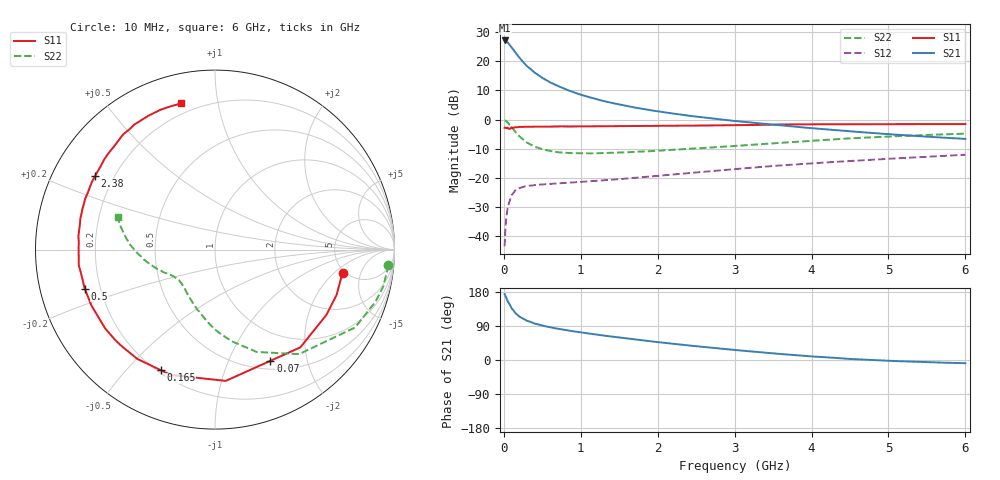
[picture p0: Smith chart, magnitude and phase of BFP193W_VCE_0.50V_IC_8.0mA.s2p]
! Infineon Technologies  Discrete & RF Semiconductors
! BFP193W
! VCE = 0.50V,  IC =  8.0 mA
! Common Emitter S-Parameters:  Jan 2016
# GHz  S  MA  R  50
!  f  S11  S21  S12  S22
! GHz  MAG  ANG  MAG  ANG  MAG  ANG  MAG  ANG
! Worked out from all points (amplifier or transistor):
!   210 points, 10 MHz to 6 GHz, reference 50 ohm
!   highest |S21| = 27.1 dB at 10 MHz (marker M1)
!   |S21| within 3 dB of that: start of sweep to 119.3 MHz
!   unconditionally stable (mu >= 1): 1.237 GHz to end of sweep
!   at 185 MHz: K = 0.20, MSG = 22.7 dB, |S12| = -23.7 dB
!   at 1.52 GHz: K = 1.12, MAG = 10.6 dB, |S12| = -20.4 dB
!   at 6 GHz: K = 1.11, MAG = 0.7 dB, |S12| = -12.1 dB
!   S11 on the Smith chart (normalised r, x): 10 MHz: 4.78, -2.56; 70 MHz: 0.60, -1.44; 165 MHz: 0.21, -0.62; 500 MHz: 0.14, -0.14; 2.38 GHz: 0.13, +0.28; 6 GHz: 0.14, +0.78
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0.01  0.7221 -10.2  22.53 174.1  0.0068 84.6  0.9702 -5.2
0.02  0.7229 -20.4  22.45 169.8  0.0134 80.8  0.9601 -12.3
0.03  0.7196 -30.2  22.12 164.8  0.0196 75.4  0.9403 -18.0
0.05  0.723 -48.9  20.96 155.3  0.0308 67.6  0.8929 -29.1
0.07  0.6924 -63.5  19.28 148.7  0.0382 58.7  0.8204 -37.0
0.1  0.7339 -85.3  17.34 136.7  0.0503 50.6  0.7472 -51.2
0.15  0.7407 -109.5  14 123.6  0.0613 40.4  0.6161 -67.8
0.165  0.7366 -114.3  13.2 121.3  0.0629 38.4  0.5847 -70.9
0.2  0.7471 -125.4  11.44 114.8  0.0669 34.0  0.5196 -79.6
0.24  0.7481 -134.0  9.974 109.9  0.0697 30.4  0.4664 -86.8
0.3  0.7533 -144.3  8.204 103.6  0.0728 27.3  0.4031 -96.2
0.4  0.7556 -155.6  6.345 96.2  0.0754 24.2  0.3431 -107.6
0.5  0.7579 -163.3  5.161 90.7  0.0776 23.2  0.31 -115.8
0.7  0.7638 -173.3  3.763 82.5  0.0806 23.4  0.2761 -127.2
1.02  0.7606 176.4  2.607 72.4  0.0857 25.4  0.2641 -137.7
1.4  0.7699 167.2  1.929 61.9  0.0934 29.0  0.2702 -144.5
2.02  0.7775 154.6  1.368 46.8  0.1093 33.9  0.2938 -152.1
2.38  0.7846 148.3  1.173 38.9  0.12 35.4  0.3137 -156.3
3.1  0.8018 136.1  0.917 24.8  0.1453 36.4  0.36 -165.4
4.1  0.829 121.6  0.694 8.3  0.1811 33.8  0.4405 -178.6
5.1  0.8358 110.5  0.55 -2.9  0.2161 29.6  0.5194 169.5
6  0.836 103.1  0.466 -8.5  0.2493 25.5  0.5723 161.5
